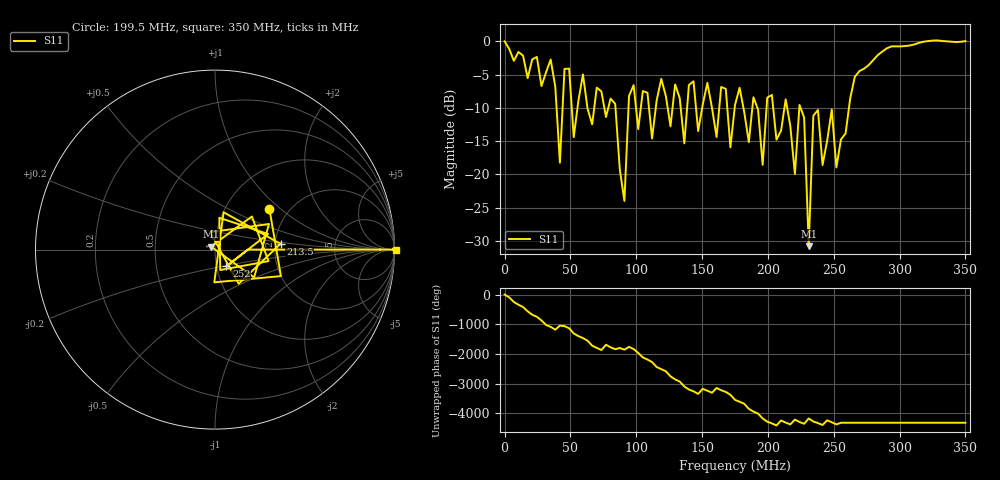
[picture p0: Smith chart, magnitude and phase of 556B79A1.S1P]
!File created by NanoVNA
# Hz S RI R 50
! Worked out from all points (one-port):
!   101 points, 50 kHz to 350 MHz, reference 50 ohm
!   lowest |S11| = -30.8 dB at 231 MHz (marker M1), VSWR 1.06, Z = 47.7 + j1.63 ohm
!   |S11| at or under -10 dB: 62.97 MHz to 68.11 MHz (5.143 MHz wide, 7.85 % of centre); 84.26 MHz to 94.14 MHz (9.879 MHz wide, 11.1 % of centre); 224.8 MHz to 261.6 MHz (36.72 MHz wide, 15.1 % of centre) (the widest 3 of 17)
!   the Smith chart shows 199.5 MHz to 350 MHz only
!   S11 on the Smith chart (normalised r, x): 199.5 MHz: 1.60, +0.84; 213.5 MHz: 2.14, +0.16; 252 MHz: 1.11, -0.21; 350 MHz: open
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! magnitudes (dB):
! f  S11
! 50 kHz  0.0
! 35.05 MHz  -2.7
! 42.04 MHz  -18.2
! 45.54 MHz  -4.1
! 52.54 MHz  -14.4
! 59.54 MHz  -5.0
! 84.04 MHz  -9.4
! 87.54 MHz  -19.3
! 91.04 MHz  -24.0
! 94.54 MHz  -8.2
! 98.04 MHz  -6.6
! 112 MHz  -14.6
! 133 MHz  -8.5
! 175 MHz  -9.6
! 189 MHz  -8.4
! 196 MHz  -18.6
! 199.5 MHz  -8.4
! 213.5 MHz  -8.7
! 220.5 MHz  -19.9
! 227.5 MHz  -11.5
! 231 MHz  -30.8
! 234.5 MHz  -11.2
! 241.5 MHz  -18.6
! 248.5 MHz  -10.2
! 252 MHz  -19.0
! 262.5 MHz  -8.6
! 308 MHz  -0.6
! 350 MHz  0.1
